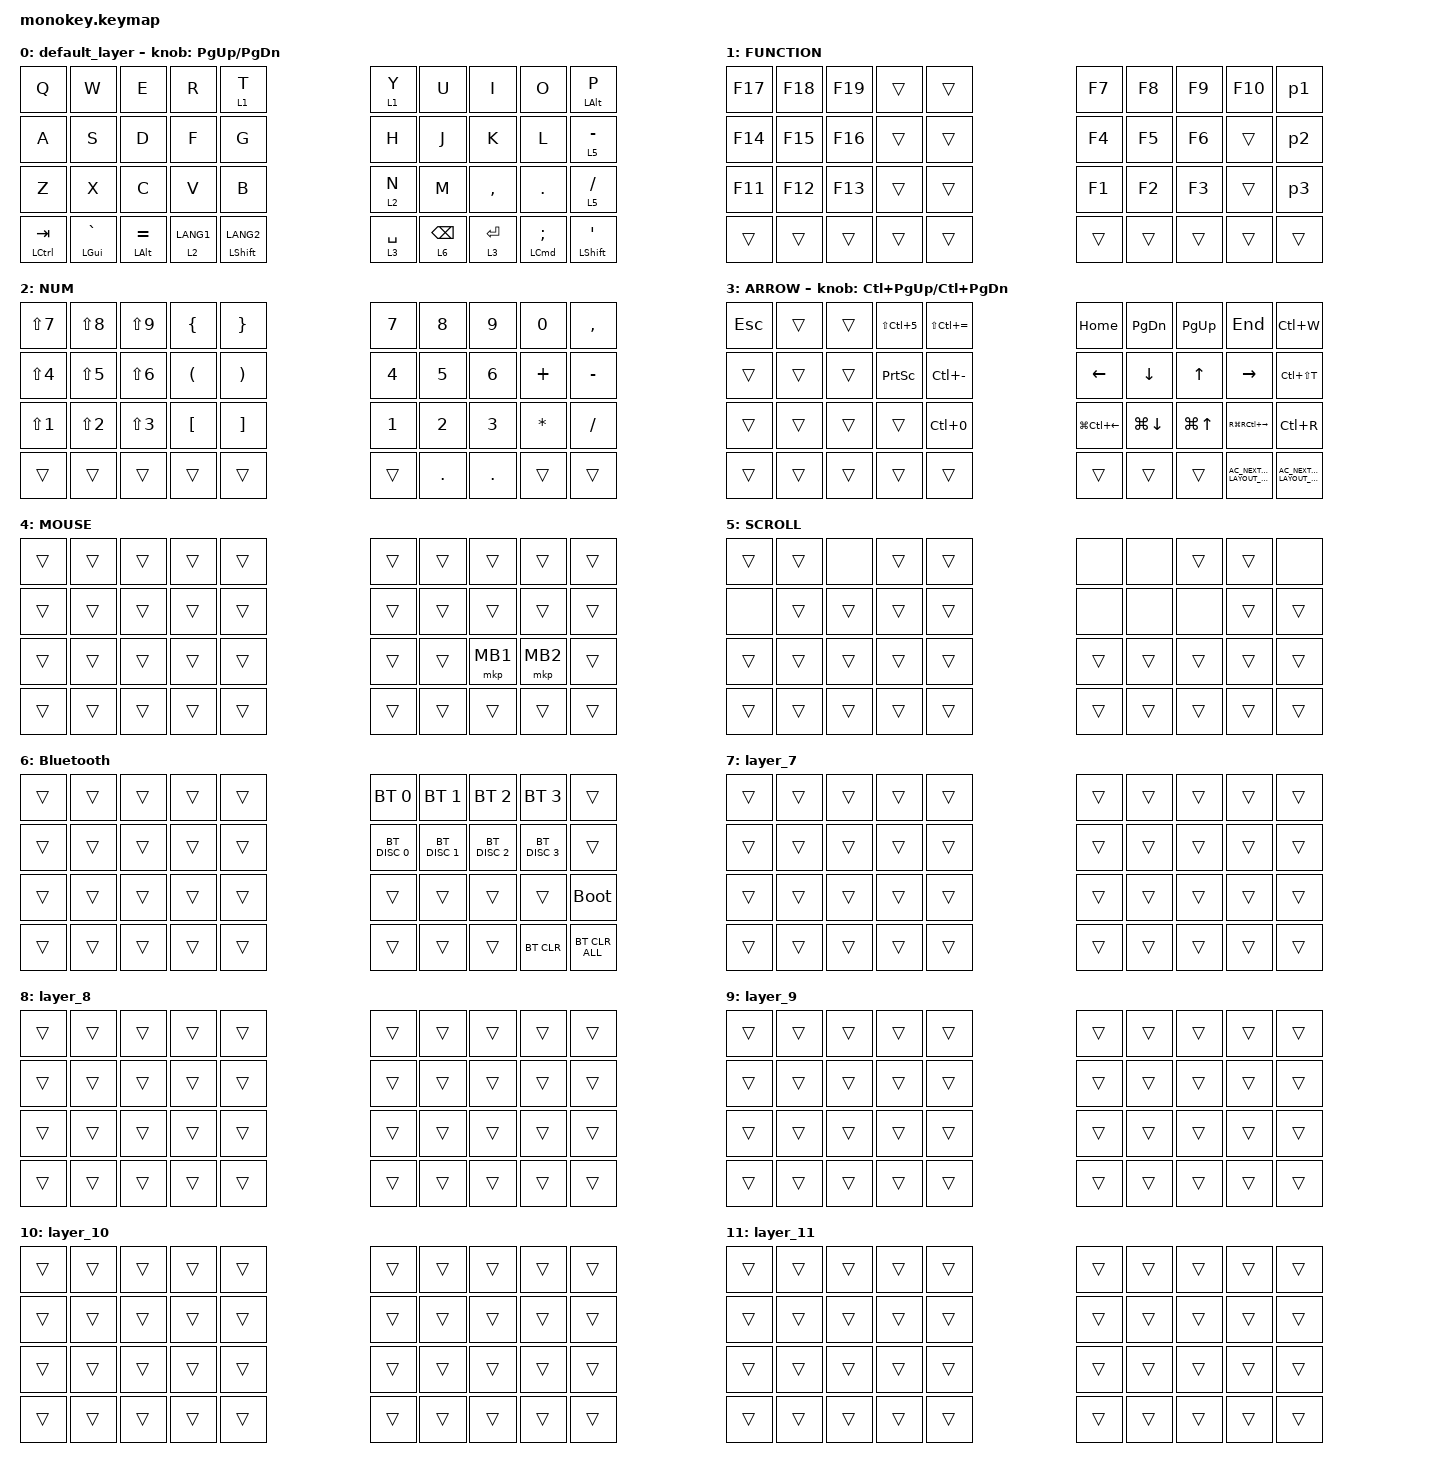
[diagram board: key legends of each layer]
#include <behaviors.dtsi>
#include <dt-bindings/zmk/bt.h>
#include <dt-bindings/zmk/keys.h>
#include <dt-bindings/zmk/pointing.h>

#define MOUSE 4
#define SCROLL 5
#define NUM 6

&mt {
    flavor = "balanced";
    quick-tap-ms = <300>;
};

&lt { quick-tap-ms = <300>; };

/ {
    combos {
        compatible = "zmk,combos";

        test {
            bindings = <&mkp MB3>;
            key-positions = <27 28>;
        };
    };

    behaviors {
        right_click: right_click_behavior {
            compatible = "zmk,behavior-mouse-key";
            label = "RIGHT_CLICK";
            #binding-cells = <0>;

            // 右クリックは通常 MB2 に対応（ZMKの標準定義）

            bindings = <&mkp MB2>;
        };
    };

    macros {
        p1: p1 {
            compatible = "zmk,behavior-macro";
            #binding-cells = <0>;
            bindings = <&kp A &kp B &kp S &kp N &kp A &kp I &kp T &kp O>;
            label = "P1";
        };

        p2: p2 {
            compatible = "zmk,behavior-macro";
            #binding-cells = <0>;
            bindings = <&kp H &kp I &kp N &kp A &kp S &kp T &kp O &kp R &kp Y &kp N1 &kp N9 &kp N7 &kp N9>;
            label = "P2";
        };

        p3: p3 {
            compatible = "zmk,behavior-macro";
            #binding-cells = <0>;
            bindings = <&none &kp A &kp B &kp S &kp H &kp I &kp N &kp A &kp S &kp T &kp O &kp R &kp Y>;
            label = "P3";
        };
    };

    keymap {
        compatible = "zmk,keymap";

        default_layer {
            bindings = <
&kp Q                 &kp W           &kp E               &kp R        &lt 1 T                                             &lt 1 Y    &kp U  &kp I      &kp O                       &mt LEFT_ALT P
&kp A                 &kp S           &kp D               &kp F        &kp G                                               &kp H      &kp J  &kp K      &kp L                       &lt 5 MINUS
&kp Z                 &kp X           &kp C               &kp V        &kp B                                               &lt 2 N    &kp M  &kp COMMA  &kp PERIOD                  &lt 5 SLASH
&mt LEFT_CONTROL TAB  &mt LGUI GRAVE  &mt LEFT_ALT EQUAL  &lt 2 LANG1  &mt LEFT_SHIFT LANG2  &lt 3 SPACE  &lt 6 BACKSPACE  &lt 3 RET                    &mt LEFT_COMMAND SEMICOLON  &mt LEFT_SHIFT SINGLE_QUOTE
            >;

            sensor-bindings = <&inc_dec_kp PG_UP PAGE_DOWN>;
        };

        FUNCTION {
            bindings = <
&kp F17  &kp F18  &kp F19  &trans  &trans                  &kp F7  &kp F8  &kp F9  &kp F10  &p1
&kp F14  &kp F15  &kp F16  &trans  &trans                  &kp F4  &kp F5  &kp F6  &trans   &p2
&kp F11  &kp F12  &kp F13  &trans  &trans                  &kp F1  &kp F2  &kp F3  &trans   &p3
&trans   &trans   &trans   &trans  &trans  &trans  &trans  &trans                  &trans   &trans
            >;
        };

        NUM {
            bindings = <
&kp LS(N7)        &kp LS(N8)        &kp LS(N9)        &kp LEFT_BRACE        &kp RIGHT_BRACE                            &kp N7        &kp N8        &kp N9        &kp N0        &kp COMMA
&kp LS(NUMBER_4)  &kp LS(N5)        &kp LS(NUMBER_6)  &kp LEFT_PARENTHESIS  &kp RIGHT_PARENTHESIS                      &kp NUMBER_4  &kp N5        &kp NUMBER_6  &kp PLUS      &kp MINUS
&kp LS(NUMBER_1)  &kp LS(NUMBER_2)  &kp LS(NUMBER_3)  &kp LEFT_BRACKET      &kp RIGHT_BRACKET                          &kp N1        &kp NUMBER_2  &kp NUMBER_3  &kp ASTERISK  &kp SLASH
&trans            &trans            &trans            &trans                &trans                 &trans  &kp PERIOD  &kp PERIOD                                &trans        &trans
            >;
        };

        ARROW {
            bindings = <
&kp ESCAPE  &trans  &trans  &kp LS(LC(N5))   &kp LS(LC(EQUAL))                  &kp HOME                &kp PAGE_DOWN   &kp PAGE_UP       &kp END                               &kp LC(W)
&trans      &trans  &trans  &kp PRINTSCREEN  &kp LC(MINUS)                      &kp LEFT_ARROW          &kp DOWN_ARROW  &kp UP_ARROW      &kp RIGHT_ARROW                       &kp LC(LS(T))
&trans      &trans  &trans  &trans           &kp LC(N0)                         &kp LG(LC(LEFT_ARROW))  &kp LG(DOWN)    &kp LG(UP_ARROW)  &kp RG(RC(RIGHT))                     &kp LC(R)
&trans      &trans  &trans  &trans           &trans             &trans  &trans  &trans                                                    &kp C_AC_NEXT_KEYBOARD_LAYOUT_SELECT  &kp C_AC_NEXT_KEYBOARD_LAYOUT_SELECT
            >;

            sensor-bindings = <&inc_dec_kp LC(PAGE_UP) LC(PAGE_DOWN)>;
        };

        MOUSE {
            bindings = <
&trans  &trans  &trans  &trans  &trans                  &trans  &trans  &trans    &trans    &trans
&trans  &trans  &trans  &trans  &trans                  &trans  &trans  &trans    &trans    &trans
&trans  &trans  &trans  &trans  &trans                  &trans  &trans  &mkp MB1  &mkp MB2  &trans
&trans  &trans  &trans  &trans  &trans  &trans  &trans  &trans                    &trans    &trans
            >;
        };

        SCROLL {
            bindings = <
&trans  &trans  &none   &trans  &trans                  &none   &none   &trans  &trans  &none
&none   &trans  &trans  &trans  &trans                  &none   &none   &none   &trans  &trans
&trans  &trans  &trans  &trans  &trans                  &trans  &trans  &trans  &trans  &trans
&trans  &trans  &trans  &trans  &trans  &trans  &trans  &trans                  &trans  &trans
            >;
        };

        Bluetooth {
            bindings = <
&trans  &trans  &trans  &trans  &trans                  &bt BT_SEL 0   &bt BT_SEL 1   &bt BT_SEL 2   &bt BT_SEL 3   &trans
&trans  &trans  &trans  &trans  &trans                  &bt BT_DISC 0  &bt BT_DISC 1  &bt BT_DISC 2  &bt BT_DISC 3  &trans
&trans  &trans  &trans  &trans  &trans                  &trans         &trans         &trans         &trans         &bootloader
&trans  &trans  &trans  &trans  &trans  &trans  &trans  &trans                                       &bt BT_CLR     &bt BT_CLR_ALL
            >;
        };

        layer_7 {
            bindings = <
&trans  &trans  &trans  &trans  &trans                  &trans  &trans  &trans  &trans  &trans
&trans  &trans  &trans  &trans  &trans                  &trans  &trans  &trans  &trans  &trans
&trans  &trans  &trans  &trans  &trans                  &trans  &trans  &trans  &trans  &trans
&trans  &trans  &trans  &trans  &trans  &trans  &trans  &trans                  &trans  &trans
            >;
        };

        layer_8 {
            bindings = <
&trans  &trans  &trans  &trans  &trans                  &trans  &trans  &trans  &trans  &trans
&trans  &trans  &trans  &trans  &trans                  &trans  &trans  &trans  &trans  &trans
&trans  &trans  &trans  &trans  &trans                  &trans  &trans  &trans  &trans  &trans
&trans  &trans  &trans  &trans  &trans  &trans  &trans  &trans                  &trans  &trans
            >;
        };

        layer_9 {
            bindings = <
&trans  &trans  &trans  &trans  &trans                  &trans  &trans  &trans  &trans  &trans
&trans  &trans  &trans  &trans  &trans                  &trans  &trans  &trans  &trans  &trans
&trans  &trans  &trans  &trans  &trans                  &trans  &trans  &trans  &trans  &trans
&trans  &trans  &trans  &trans  &trans  &trans  &trans  &trans                  &trans  &trans
            >;
        };

        layer_10 {
            bindings = <
&trans  &trans  &trans  &trans  &trans                  &trans  &trans  &trans  &trans  &trans
&trans  &trans  &trans  &trans  &trans                  &trans  &trans  &trans  &trans  &trans
&trans  &trans  &trans  &trans  &trans                  &trans  &trans  &trans  &trans  &trans
&trans  &trans  &trans  &trans  &trans  &trans  &trans  &trans                  &trans  &trans
            >;
        };

        layer_11 {
            bindings = <
&trans  &trans  &trans  &trans  &trans                  &trans  &trans  &trans  &trans  &trans
&trans  &trans  &trans  &trans  &trans                  &trans  &trans  &trans  &trans  &trans
&trans  &trans  &trans  &trans  &trans                  &trans  &trans  &trans  &trans  &trans
&trans  &trans  &trans  &trans  &trans  &trans  &trans  &trans                  &trans  &trans
            >;
        };
    };
};
